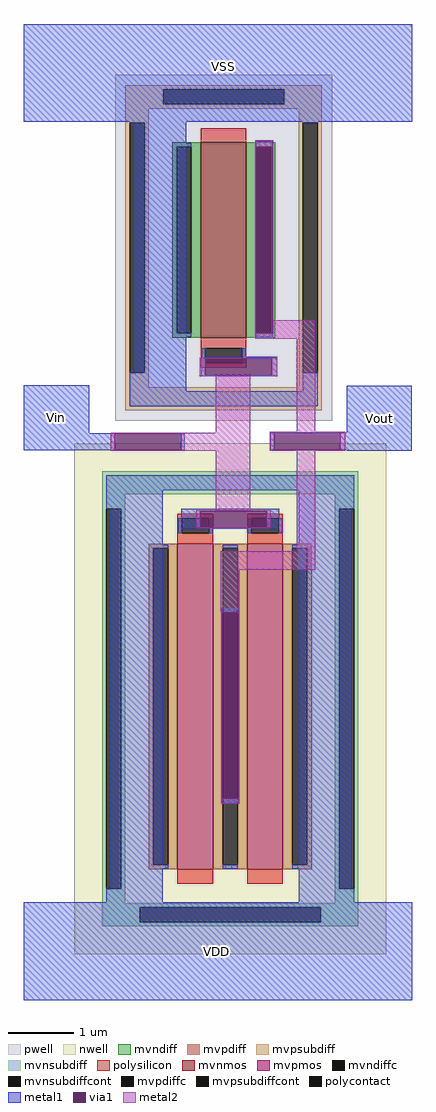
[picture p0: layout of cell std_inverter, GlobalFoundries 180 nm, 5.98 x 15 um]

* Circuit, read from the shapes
.subckt std_inverter VDD VSS Vin Vout
XM1 Vout Vin VSS VSS nfet_06v0 w=3u l=0.7u
XM2 Vout Vin VDD VDD pfet_06v0 w=5u l=0.55u m=2
.ends

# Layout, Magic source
magic
tech gf180mcuD
magscale 1 10
<< metal1 >>
rect 265 1350 1460 1650
rect 266 392 466 540
rect 602 496 765 1350
rect 979 1273 1031 1290
rect 979 687 1031 699
rect 811 622 1045 627
rect 811 570 824 622
rect 1028 570 1045 622
rect 811 567 1045 570
rect 1258 393 1458 538
rect 266 340 545 392
rect 749 340 761 392
rect 1023 341 1035 393
rect 1239 341 1458 393
rect 1258 338 1458 341
rect 529 -1050 692 253
rect 750 154 1051 160
rect 750 102 808 154
rect 1012 102 1051 154
rect 750 99 1051 102
rect 874 -158 926 -146
rect 874 -745 926 -732
rect 1110 -1050 1273 257
rect 265 -1350 1460 -1050
<< via1 >>
rect 979 699 1031 1273
rect 824 570 1028 622
rect 545 340 749 392
rect 1035 341 1239 393
rect 808 102 1012 154
rect 874 -732 926 -158
<< metal2 >>
rect 977 1273 1033 1292
rect 977 699 979 1273
rect 1031 740 1033 1273
rect 1031 699 1162 740
rect 977 683 1162 699
rect 807 622 1045 624
rect 807 570 824 622
rect 1028 570 1045 622
rect 807 568 1045 570
rect 856 394 962 568
rect 1105 396 1162 683
rect 533 392 962 394
rect 533 340 545 392
rect 749 340 962 392
rect 533 338 962 340
rect 1021 393 1254 396
rect 1021 341 1035 393
rect 1239 341 1254 393
rect 1021 338 1254 341
rect 856 156 962 338
rect 796 154 1024 156
rect 796 102 808 154
rect 1012 102 1024 154
rect 796 100 1024 102
rect 1105 29 1162 338
rect 871 -28 1162 29
rect 871 -156 928 -28
rect 872 -158 928 -156
rect 872 -732 874 -158
rect 926 -732 928 -158
rect 872 -747 928 -732
use pmos_6p0_MUW2NR  XM0 primitives
transform 1 0 900 0 1 -424
box -480 -786 480 786
use nmos_6p0_BUMBJU  XM1 primitives
transform 1 0 880 0 1 962
box -334 -532 334 532
<< labels >>
flabel metal1 1258 338 1458 538 0 FreeSans 1280 0 0 0 Vout
port 3 nsew
flabel metal1 266 340 466 540 0 FreeSans 1280 0 0 0 Vin
port 2 nsew
flabel metal1 780 1419 980 1619 0 FreeSans 1280 0 0 0 VSS
port 1 nsew
flabel metal1 758 -1302 958 -1102 0 FreeSans 1280 0 0 0 VDD
port 0 nsew
<< end >>

# cell pmos_6p0_MUW2NR: kit device pmos_6p0, w 5.0 l 0.5 m 1 nf 2 diffcov 100 polycov 100 guard 1 glc 1 grc 1 gtc 0 gbc 1 tbcov 100 rlcov 100 topc 1 botc 0 poverlap 0 doverlap 1 lmin 0.5 wmin 0.3 full_metal 1 compatible {pmos_3p3 pmos_6p0}

# cell nmos_6p0_BUMBJU: kit device nmos_6p0, w 3.0 l 0.7 m 1 nf 1 diffcov 100 polycov 100 guard 1 glc 1 grc 1 gtc 1 gbc 0 tbcov 100 rlcov 100 topc 0 botc 1 poverlap 0 doverlap 1 lmin 0.6 wmin 0.3 full_metal 1 compatible {nmos_3p3 nmos_6p0 nmos_6p0_nat}
